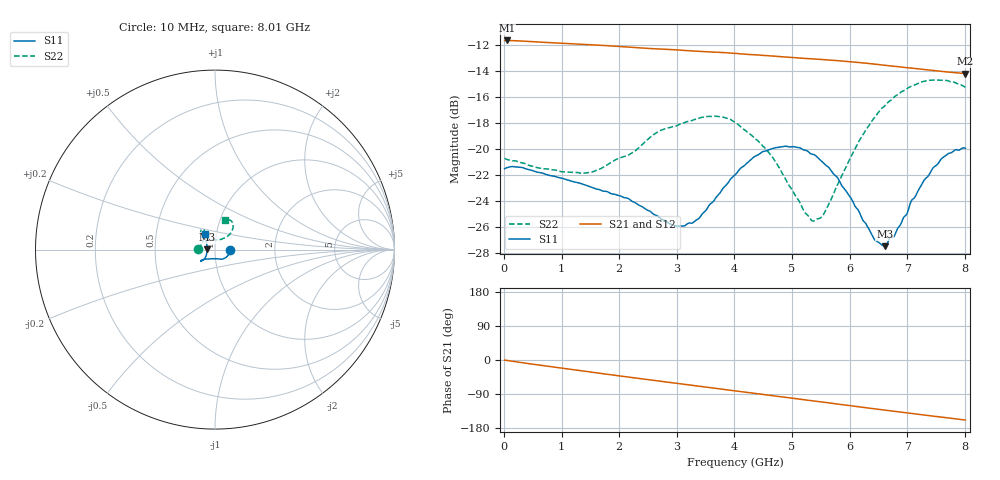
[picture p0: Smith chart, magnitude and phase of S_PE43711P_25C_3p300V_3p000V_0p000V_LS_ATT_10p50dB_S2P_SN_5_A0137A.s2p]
! Device ID: PE43711P
! File Path: z:\PE43711P\CHAR_NOM_04282014\AMB\3p300\LS_ATT_10p50dB\PE43711P_AMB_3p300V_3p000V_0p000V_LS_ATT_10p50dB_S2P_SN_5_A0137A.s2p
! Serial: 5
! Lot: A0137A
! Temp: 25C
! VDD: 3.300
! VSS: 0.000
! Control_Hi: 3.000
! Control_Lo: 0.000
! Attenuation Step: 10.50dB
! Port 1: RF1
! Port 2: RF2
! ThroughPath:1-2
! IDD: 0.0001275937
! ISS: -1.495e-007
#  Hz  S  RI  R  50
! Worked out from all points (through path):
!   801 points, 10 MHz to 8.01 GHz, reference 50 ohm
!   highest |S21| = -11.63 dB at 50 MHz (marker M1); lowest = -14.2 dB at 8.01 GHz (marker M2)
!   group delay of S21, straight-line fit = 54.7 ps
!   lowest |S11| = -27.4 dB at 6.61 GHz (marker M3), VSWR 1.09, Z = 45.9 + j0.237 ohm
!   |S11| at or under -10 dB: start of sweep to end of sweep
!   |S22| runs from -25.5 to -14.7 dB; largest |S21 - S12| = 0.00047
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1e7  0.0843 -0.000209  0.262 -0.00126  0.2623 -0.00133  -0.0923 0.000749
5e7  0.085 -0.00181  0.262 -0.00542  0.2622 -0.00538  -0.0915 0.0025
1.35e9  0.0571 -0.0465  0.2223 -0.1217  0.2224 -0.1218  -0.0711 0.0383
2.18e9  0.0354 -0.0535  0.1731 -0.1764  0.1732 -0.1764  -0.0571 0.0766
2.68e9  0.0184 -0.0519  0.1384 -0.1998  0.1384 -0.2  -0.0572 0.1022
2.99e9  0.00345 -0.0506  0.1154 -0.2117  0.1154 -0.2118  -0.0604 0.1071
3.29e9  -0.0135 -0.0507  0.0921 -0.2202  0.0921 -0.2203  -0.0652 0.1123
3.69e9  -0.0397 -0.0524  0.0608 -0.2281  0.0606 -0.2281  -0.0754 0.1107
4.01e9  -0.0586 -0.0541  0.0347 -0.2311  0.0346 -0.2313  -0.0797 0.0989
4.34e9  -0.0735 -0.0578  0.00839 -0.2308  0.00839 -0.2309  -0.0714 0.085
4.69e9  -0.0796 -0.0623  -0.0189 -0.2272  -0.019 -0.2272  -0.0569 0.0712
5.07e9  -0.0786 -0.0649  -0.0471 -0.2198  -0.0472 -0.2199  -0.0292 0.0588
5.35e9  -0.073 -0.0619  -0.067 -0.2124  -0.067 -0.2126  -0.00379 0.053
5.55e9  -0.0665 -0.0581  -0.0808 -0.2059  -0.0807 -0.2061  0.0171 0.0537
6.16e9  -0.0488 -0.031  -0.119 -0.1797  -0.1191 -0.1798  0.0743 0.0773
6.43e9  -0.0436 -0.0114  -0.1332 -0.1656  -0.1334 -0.1657  0.0911 0.0962
6.61e9  -0.0424 0.00258  -0.1415 -0.1557  -0.1415 -0.1559  0.0969 0.1104
6.68e9  -0.0438 0.00941  -0.1445 -0.1519  -0.1445 -0.152  0.0988 0.1162
7.05e9  -0.0474 0.0395  -0.1588 -0.1302  -0.1586 -0.1303  0.0998 0.1425
7.45e9  -0.0537 0.0657  -0.1706 -0.106  -0.1706 -0.1061  0.0854 0.1636
7.69e9  -0.0568 0.0767  -0.176 -0.0914  -0.176 -0.0913  0.0721 0.1691
8.01e9  -0.0553 0.0844  -0.1817 -0.0719  -0.1819 -0.0715  0.0569 0.1637
